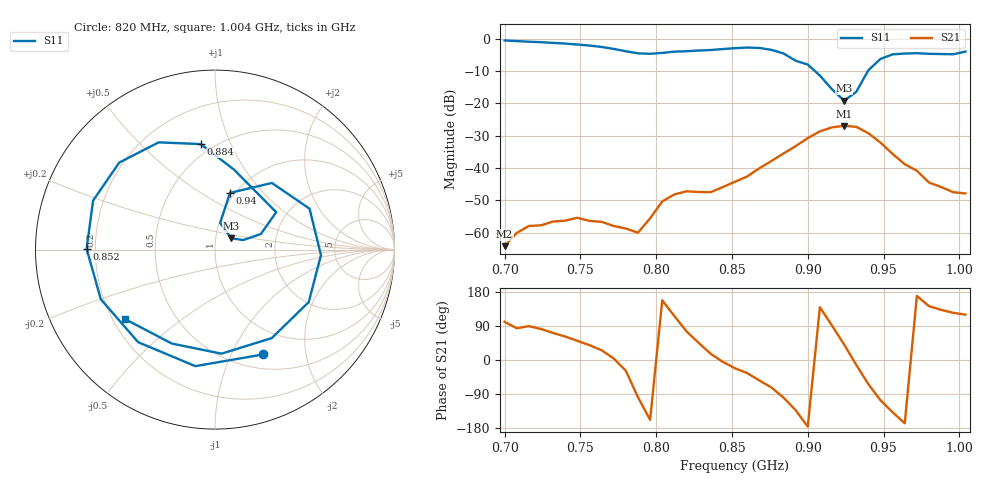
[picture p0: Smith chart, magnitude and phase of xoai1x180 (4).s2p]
# Hz S RI R 50
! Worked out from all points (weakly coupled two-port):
!   39 points, 700 MHz to 1.004 GHz, reference 50 ohm
!   highest |S21| = -26.93 dB at 924 MHz (marker M1); lowest = -64.2 dB at 700 MHz (marker M2)
!   lowest |S11| = -19.1 dB at 924 MHz (marker M3), VSWR 1.25, Z = 59.4 + j7.62 ohm
!   |S11| at or under -10 dB: 904.8 MHz to 939.7 MHz (34.89 MHz wide, 3.78 % of centre)
!   S12 and S22 are empty: the file has one direction only
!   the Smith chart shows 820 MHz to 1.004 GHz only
!   S11 on the Smith chart (normalised r, x): 820 MHz: 0.67, -1.33; 852 MHz: 0.17, +0.00; 884 MHz: 0.43, +0.78; 940 MHz: 0.95, +0.67; 1.004 GHz: 0.25, -0.32
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7e8  0.7649 0.5505  -0.000115 0.000609  0 0  0 0
7.24e8  0.8505 -0.2477  0.000185 0.00129  0 0  0 0
7.4e8  0.4618 -0.7064  0.000725 0.00136  0 0  0 0
7.56e8  -0.1925 -0.7621  0.00118 0.000964  0 0  0 0
7.72e8  -0.6685 -0.1977  0.00127 8.95e-05  0 0  0 0
7.8e8  -0.5994 0.2273  0.00102 -0.000553  0 0  0 0
7.88e8  -0.2513 0.5404  -0.000147 -0.000991  0 0  0 0
7.96e8  0.2458 0.5316  -0.00155 -0.000631  0 0  0 0
8.04e8  0.5798 0.1744  -0.00282 0.00117  0 0  0 0
8.12e8  0.564 -0.2863  -0.00171 0.00352  0 0  0 0
8.2e8  0.2692 -0.5839  0.00108 0.00424  0 0  0 0
8.36e8  -0.4283 -0.5158  0.00408 0.00118  0 0  0 0
8.52e8  -0.7152 0.00474  0.00571 -0.00229  0 0  0 0
8.68e8  -0.5337 0.4847  0.00586 -0.008  0 0  0 0
8.84e8  -0.0797 0.5879  -0.0027 -0.0166  0 0  0 0
9e8  0.3411 0.2083  -0.029 -0.00206  0 0  0 0
9.08e8  0.2554 0.0869  -0.0281 0.0241  0 0  0 0
9.24e8  0.0905 0.0633  0.034 0.0295  0 0  0 0
9.4e8  0.0834 0.3159  0.0153 -0.031  0 0  0 0
9.56e8  0.5269 0.2278  -0.0123 -0.011  0 0  0 0
9.8e8  0.3162 -0.4931  -0.00471 0.00367  0 0  0 0
1.004e9  -0.5013 -0.3872  -0.00202 0.00352  0 0  0 0
